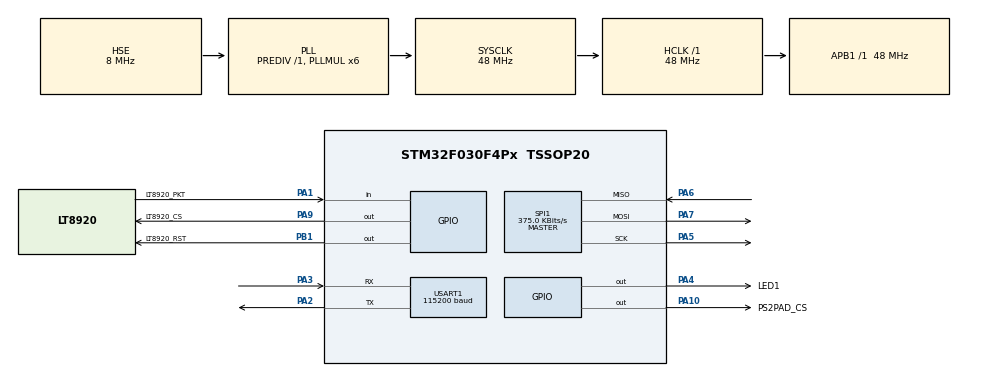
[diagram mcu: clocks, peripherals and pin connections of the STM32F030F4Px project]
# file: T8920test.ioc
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Mcu.Family=STM32F0
Mcu.Name=STM32F030F4Px
Mcu.Package=TSSOP20
NVIC.SPI1_IRQn=true\:0\:0\:false\:false\:true\:true
NVIC.USART1_IRQn=true\:0\:0\:false\:false\:true\:true
PA1.GPIO_Label=LT8920_PKT
PA1.GPIO_PuPd=GPIO_NOPULL
PA1.Signal=GPIO_Input
PA10.GPIO_Label=PS2PAD_CS
PA10.Signal=GPIO_Output
PA13.Mode=Serial_Wire
PA13.Signal=SYS_SWDIO
PA14.Mode=Serial_Wire
PA14.Signal=SYS_SWCLK
PA2.Mode=Asynchronous
PA2.Signal=USART1_TX
PA3.Mode=Asynchronous
PA3.Signal=USART1_RX
PA4.GPIO_Label=LED1
PA4.Signal=GPIO_Output
PA5.Mode=Full_Duplex_Master
PA5.Signal=SPI1_SCK
PA6.Mode=Full_Duplex_Master
PA6.Signal=SPI1_MISO
PA7.Mode=Full_Duplex_Master
PA7.Signal=SPI1_MOSI
PA9.GPIO_Label=LT8920_CS
PA9.Signal=GPIO_Output
PB1.GPIO_Label=LT8920_RST
PB1.Signal=GPIO_Output
PF0-OSC_IN.Mode=HSE-External-Oscillator
PF0-OSC_IN.Signal=RCC_OSC_IN
PF1-OSC_OUT.Mode=HSE-External-Oscillator
PF1-OSC_OUT.Signal=RCC_OSC_OUT
ProjectManager.HeapSize=0x200
ProjectManager.StackSize=0x400
ProjectManager.TargetToolchain=MDK-ARM V5
RCC.AHBFreq_Value=48000000
RCC.APB1Freq_Value=48000000
RCC.APB1TimFreq_Value=48000000
RCC.HCLKFreq_Value=48000000
RCC.OscillatorTypeHSI=RCC_OSCILLATORTYPE_HSI
RCC.PLLMUL=RCC_PLL_MUL6
RCC.PLLSourceVirtual=RCC_PLLSOURCE_HSE
RCC.SYSCLKFreq_VALUE=48000000
RCC.SYSCLKSource=RCC_SYSCLKSOURCE_PLLCLK
SPI1.BaudRatePrescaler=SPI_BAUDRATEPRESCALER_128
SPI1.CLKPhase=SPI_PHASE_2EDGE
SPI1.CalculateBaudRate=375.0 KBits/s
SPI1.DataSize=SPI_DATASIZE_8BIT
SPI1.Direction=SPI_DIRECTION_2LINES
SPI1.FirstBit=SPI_FIRSTBIT_MSB
SPI1.Mode=SPI_MODE_MASTER
SPI1.VirtualType=VM_MASTER
TIM17.Period=65535
USART1.BaudRate=115200
USART1.HwFlowCtl-Asynchronous=UART_HWCONTROL_NONE
USART1.RxPinLevelInvertParam=UART_ADVFEATURE_RXINV_DISABLE
USART1.TxPinLevelInvertParam=UART_ADVFEATURE_TXINV_DISABLE
USART1.VirtualMode-Asynchronous=VM_ASYNC
VP_CRC_VS_CRC.Mode=CRC_Activate
VP_TIM17_VS_ClockSourceINT.Mode=Enable_Timer
board=T8920test

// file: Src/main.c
/**
  ******************************************************************************
  * File Name          : main.c
  * Description        : Main program body
  ******************************************************************************
  *
  * COPYRIGHT(c) 2017 STMicroelectronics
  *
  * Redistribution and use in source and binary forms, with or without modification,
  * are permitted provided that the following conditions are met:
  *   1. Redistributions of source code must retain the above copyright notice,
  *      this list of conditions and the following disclaimer.
  *   2. Redistributions in binary form must reproduce the above copyright notice,
  *      this list of conditions and the following disclaimer in the documentation
  *      and/or other materials provided with the distribution.
  *   3. Neither the name of STMicroelectronics nor the names of its contributors
  *      may be used to endorse or promote products derived from this software
  *      without specific prior written permission.
  *
  * THIS SOFTWARE IS PROVIDED BY THE COPYRIGHT HOLDERS AND CONTRIBUTORS "AS IS"
  * AND ANY EXPRESS OR IMPLIED WARRANTIES, INCLUDING, BUT NOT LIMITED TO, THE
  * IMPLIED WARRANTIES OF MERCHANTABILITY AND FITNESS FOR A PARTICULAR PURPOSE ARE
  * DISCLAIMED. IN NO EVENT SHALL THE COPYRIGHT HOLDER OR CONTRIBUTORS BE LIABLE
  * FOR ANY DIRECT, INDIRECT, INCIDENTAL, SPECIAL, EXEMPLARY, OR CONSEQUENTIAL
  * DAMAGES (INCLUDING, BUT NOT LIMITED TO, PROCUREMENT OF SUBSTITUTE GOODS OR
  * SERVICES; LOSS OF USE, DATA, OR PROFITS; OR BUSINESS INTERRUPTION) HOWEVER
  * CAUSED AND ON ANY THEORY OF LIABILITY, WHETHER IN CONTRACT, STRICT LIABILITY,
  * OR TORT (INCLUDING NEGLIGENCE OR OTHERWISE) ARISING IN ANY WAY OUT OF THE USE
  * OF THIS SOFTWARE, EVEN IF ADVISED OF THE POSSIBILITY OF SUCH DAMAGE.
  *
  ******************************************************************************
  */
#include "main.h"
#include "stm32f0xx_hal.h"
#include "crc.h"
#include "spi.h"
#include "tim.h"
#include "usart.h"
#include "gpio.h"

/* USER CODE BEGIN Includes */
#include "stdio.h"
#include "LT8920_master.h"
#include "LT8920_IO.h"
#include "pstwo.h"

#ifdef __GNUC__
#define PUTCHAR_PROTOTYPE int __io_putchar(int ch)
#else
#define PUTCHAR_PROTOTYPE int fputc(int ch, FILE *f)
#endif
PUTCHAR_PROTOTYPE
{
    HAL_UART_Transmit(&huart1 , (uint8_t *)&ch, 1, 500);
    return ch;
}
/* USER CODE END Includes */

/* USER CODE BEGIN PV */
/* Private variables ---------------------------------------------------------*/

/* USER CODE END PV */

void SystemClock_Config(void);
void Error_Handler(void);
bool CheckTimeout(uint32_t start_time, uint32_t timeout);

/* USER CODE BEGIN PFP */
/* Private function prototypes -----------------------------------------------*/

/* USER CODE END PFP */

int main(void)
{

    /* MCU Configuration----------------------------------------------------------*/

    /* Reset of all peripherals, Initializes the Flash interface and the Systick. */
    HAL_Init();

    /* Configure the system clock */
    SystemClock_Config();

    /* Initialize all configured peripherals */
    MX_GPIO_Init();
    MX_SPI1_Init();
    MX_TIM17_Init();
    MX_USART1_UART_Init();
    MX_CRC_Init();

    printf("Transmeter power on!\n");
    /* USER CODE BEGIN 2 */

    PS2X_ConfigSPI();
    PS2X_ConfigGamepad(false, true);
    PS2X_ConfigGamepad(false, true);
    //if(LT8920_MasterInit(4))
    //{
        //printf("LT8920 init ok!\n");
    //}

    //uint32_t start = HAL_GetTick();

    //HAL_Delay(100);
    //printf("Select ch = %d \n",LT8920_GetChannel());
    //while(1)
    //{
                    //主机发送配对请求
            //if(LT8920_PairingRequest(100))
            //{
                //printf("master pair ok!\n");
                //break;
            //}
        //if(!CheckTimeout(start, 2000))
        //{

        //}
    //}

    //LT8920_FindSlave(void);

    /* USER CODE END 2 */

    /* Infinite loop */
    /* USER CODE BEGIN WHILE */
    //uint8_t TxBuf[4] = {0x01,0x02,0x03,0x04};
    //uint8_t RxBuf[4],LostCount;
    while (1)
    {

        //读一次按键
        PS2X_ConfigSPI();
        PS2X_ReadGamepad(false,0x00);
        if(PS2X_IsButtonOnPress(PSB_CIRCLE))
        {
            printf("Rx:%x RY:%x LX:%x LY:%x\n",PS2X_GetAnalogValue(PSS_RX), PS2X_GetAnalogValue(PSS_RY), PS2X_GetAnalogValue(PSS_LX), PS2X_GetAnalogValue(PSS_LY));
        }

        LT8920_ConfigSPI();
        HAL_Delay(20);
        //发送一次数据
        //if(LT8920_CommunicateToSlaveWithFeedback(TxBuf, RxBuf, &LostCount))
        //{
            //printf("send ok!\n");
            //printf("%d %d %d %d", RxBuf[0], RxBuf[1], RxBuf[2], RxBuf[3]);
            //HAL_GPIO_WritePin(GPIOA, GPIO_PIN_4, GPIO_PIN_RESET);
            //HAL_Delay(100);
        //}
        //else
        //{
            //HAL_GPIO_WritePin(GPIOA, GPIO_PIN_4, GPIO_PIN_SET);
        //}

    }
    /* USER CODE END WHILE */

}

/** System Clock Configuration
*/
void SystemClock_Config(void)
{

  RCC_OscInitTypeDef RCC_OscInitStruct;
  RCC_ClkInitTypeDef RCC_ClkInitStruct;
  RCC_PeriphCLKInitTypeDef PeriphClkInit;

    /**Initializes the CPU, AHB and APB busses clocks
    */
  RCC_OscInitStruct.OscillatorType = RCC_OSCILLATORTYPE_HSI|RCC_OSCILLATORTYPE_HSE;
  RCC_OscInitStruct.HSEState = RCC_HSE_ON;
  RCC_OscInitStruct.HSIState = RCC_HSI_ON;
  RCC_OscInitStruct.PLL.PLLState = RCC_PLL_ON;
  RCC_OscInitStruct.PLL.PLLSource = RCC_PLLSOURCE_HSE;
  RCC_OscInitStruct.PLL.PLLMUL = RCC_PLL_MUL6;
  RCC_OscInitStruct.PLL.PREDIV = RCC_PREDIV_DIV1;
  if (HAL_RCC_OscConfig(&RCC_OscInitStruct) != HAL_OK)
  {
    Error_Handler();
  }

    /**Initializes the CPU, AHB and APB busses clocks
    */
  RCC_ClkInitStruct.ClockType = RCC_CLOCKTYPE_HCLK|RCC_CLOCKTYPE_SYSCLK
                              |RCC_CLOCKTYPE_PCLK1;
  RCC_ClkInitStruct.SYSCLKSource = RCC_SYSCLKSOURCE_PLLCLK;
  RCC_ClkInitStruct.AHBCLKDivider = RCC_SYSCLK_DIV1;
  RCC_ClkInitStruct.APB1CLKDivider = RCC_HCLK_DIV1;

  if (HAL_RCC_ClockConfig(&RCC_ClkInitStruct, FLASH_LATENCY_1) != HAL_OK)
  {
    Error_Handler();
  }

  PeriphClkInit.PeriphClockSelection = RCC_PERIPHCLK_USART1;
  PeriphClkInit.Usart1ClockSelection = RCC_USART1CLKSOURCE_PCLK1;
  if (HAL_RCCEx_PeriphCLKConfig(&PeriphClkInit) != HAL_OK)
  {
    Error_Handler();
  }

    /**Configure the Systick interrupt time
    */
  HAL_SYSTICK_Config(HAL_RCC_GetHCLKFreq()/1000);

    /**Configure the Systick
    */
  HAL_SYSTICK_CLKSourceConfig(SYSTICK_CLKSOURCE_HCLK);

  /* SysTick_IRQn interrupt configuration */
  HAL_NVIC_SetPriority(SysTick_IRQn, 0, 0);
}

/* USER CODE BEGIN 4 */
//计算是否超时
bool CheckTimeout(uint32_t start_time, uint32_t timeout)
{
    uint32_t tick = HAL_GetTick();
    uint32_t ellipsed;
    if(tick >= start_time)
        ellipsed =  tick - start_time;
    else
        ellipsed =  (0xFFFFFFFF - start_time) + tick;

    if(ellipsed >= timeout)
        return true;
    else
        return false;
}
/* USER CODE END 4 */

void Error_Handler(void)
{
  while(1)
  {
  }
}

/************************ (C) COPYRIGHT STMicroelectronics *****END OF FILE****/
